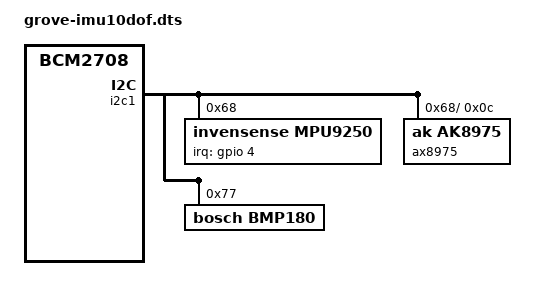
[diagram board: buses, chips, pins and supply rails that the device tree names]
/*
	https://wiki.seeedstudio.com/Grove-IMU_10DOF/

	on raspberry pi you need to enable i2c in /boot/config.txt using
	dtparam=i2c_arm=on

	and connect interrput pin to gpio4, so pinout is:
	pin	gpio	function
	1		3V3
	3	gpio2	SDA
	5	gpio3	SCL
	7	gpio4	INT (mpu9250)
	9		GND
	
*/

/dts-v1/;
/plugin/;

/ {
	compatible = "brcm,bcm2708";

	fragment@0 {
		target = <&i2c1>;
		__overlay__ {
			#address-cells = <1>;
                    	#size-cells = <0>;

			mpu9250: mpu9250@68 {
				compatible = "invensense,mpu9250";
				reg = <0x68>;
				interrupt-parent = <&gpio>;
				interrupts = <4 1>; /* gpio4, 4 dt-bindings/interrupt-controller/irq.h IRQ_TYPE_LEVEL_HIGH */
				mount-matrix = "1",  /* x0 */
                            	"0",  /* y0 */
                            	"0",  /* z0 */
                            	"0",  /* x1 */
                            	"1",  /* y1 */
                            	"0",  /* z1 */
                            	"0",  /* x2 */
                            	"0",  /* y2 */
                            	"1";  /* z2 */

				i2c-gate {
					#address-cells = <1>;
					#size-cells = <0>;
					ax8975@c {
						compatible = "ak,ak8975";
						reg = <0x0c>;
					};
				};
			};

			bmp180@77 {
				compatible = "bosch,bmp180";
				reg = <0x77>;
			};

		};
	};

	__overrides__ {
		interrupt = <&mpu9250>,"interrupts:0";
	};

};
